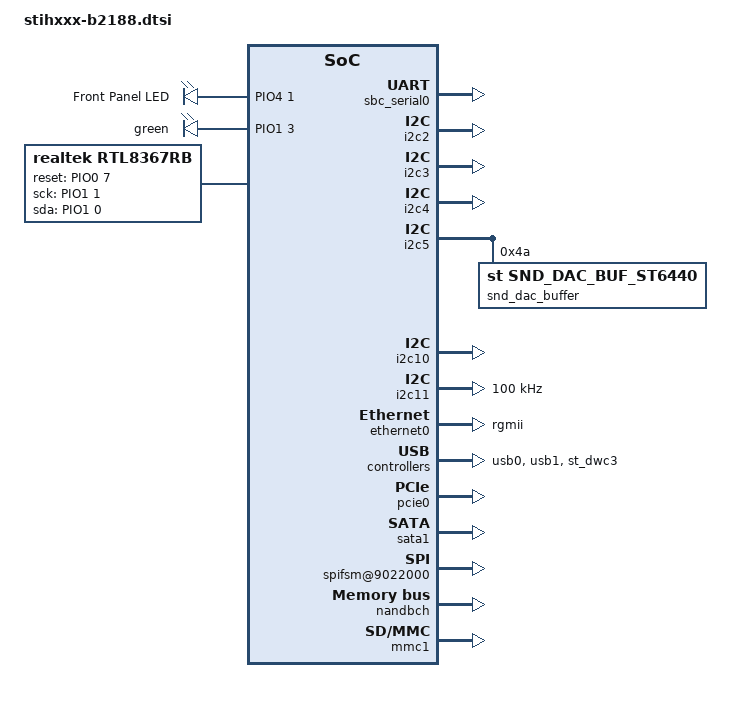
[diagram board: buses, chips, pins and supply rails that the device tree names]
/*
 * Copyright (C) 2014 STMicroelectronics (R&D) Limited.
 * Author: Maxime Coquelin <maxime.coquelin@st.com>
 *
 * This program is free software; you can redistribute it and/or modify
 * it under the terms of the GNU General Public License version 2 as
 * published by the Free Software Foundation.
 */
/ {
	chosen {
		bootargs = "console=ttyAS0,115200";
		linux,stdout-path = &sbc_serial0;
	};

	aliases {
		ttyAS0 = &sbc_serial0;
		ethernet0 = &ethernet0;
		usb0 = &usb0;
		usb1 = &usb1;
	};

	soc {
		sbc_serial0: serial@9530000 {
			status = "okay";
		};

		leds {
			compatible = "gpio-leds";
			red {
				#gpio-cells = <2>;
				label = "Front Panel LED";
				gpios = <&PIO4 1 0>;
				linux,default-trigger = "heartbeat";
			};
			green {
				#gpio-cells = <2>;
				gpios = <&PIO1 3 0>;
				default-state = "off";
			};
		};

		rc: rc@09518000 {
			status = "okay";
		};

		/* NIM-A */
		i2c2: i2c@9842000 {
			status = "okay";
		};

		/* NIM-B */
		i2c3: i2c@9843000 {
			status = "okay";
		};

		/* SSC4 to PCIe connector */
		i2c4: i2c@9844000 {
			status = "okay";
		};

		/* SSC5 to STV6440,  PCIe connector, I2C Eeprom */
		i2c5: i2c@9845000 {
			status = "okay";
		};

		/* SSC10 to STV0368 */
		i2c10: i2c@9540000 {
			status = "okay";
		};

		/* SSC11 to HDMI */
		i2c11: i2c@9541000 {
			status = "okay";
			/* HDMI V1.3a supports Standard mode only */
			clock-frequency = <100000>;
			st,i2c-min-scl-pulse-width-us = <0>;
			st,i2c-min-sda-pulse-width-us = <5>;
		};

		lpm:stm-lpm@9400000 {
			status = "okay";
			gpios = <&PIO3 2 0>;
			st,lmi-ret-gpio = <&PIO5 2 0>;
		};

		ethernet0: dwmac@9630000 {
			st,tx-retime-src = "clkgen";
			status = "okay";
			phy-mode = "rgmii";
			fixed-link = <1 1000 0 0>;
			snps,phy-addr = <0x1>;
			pinctrl-names = "default";
			pinctrl-0 = <&pinctrl_rgmii1 &pinctrl_rgmii1_b2188_rxclk>;
		};

		realtek: rtl8367rb {
			compatible = "realtek,rtl8367rb";
			status = "okay";

			gpio-reset = <&PIO0 7 0>;
			gpio-sck = <&PIO1 1 0>;
			gpio-sda = <&PIO1 0 0>;

			rtl8367rb,extif1;
			rtl8367rb,extif1-mode = <1>; // RGMII
			rtl8367rb,extif1-txdelay = <0>;
			rtl8367rb,extif1-rxdelay = <1>;
			rtl8367rb,extif1-force_mode = <1>;
			rtl8367rb,extif1-txpause = <2>;
			rtl8367rb,extif1-rxpause = <2>;
			rtl8367rb,extif1-link = <1>;
			rtl8367rb,extif1-duplex = <1>;
			rtl8367rb,extif1-speed = <1>; // 100M speed

			rtl8367rb,extif2;
			rtl8367rb,extif2-mode = <1>; // RGMII
			rtl8367rb,extif2-txdelay = <0>;
			rtl8367rb,extif2-rxdelay = <1>;
			rtl8367rb,extif2-force_mode = <1>;
			rtl8367rb,extif2-txpause = <1>;
			rtl8367rb,extif2-rxpause = <1>;
			rtl8367rb,extif2-link = <1>;
			rtl8367rb,extif2-duplex = <1>;
			rtl8367rb,extif2-speed = <2>; // 1000M speed
		};

		usb0: usb@9A00000 {
			status = "okay";
		};

		usb1: usb@9A80000 {
			status = "okay";
		};

		st_dwc3: dwc3@8f94000 {
			status = "okay";
		};

		miphy28lp_phy0: miphy28lp@0 {
                        status = "okay";
                };

		miphy28lp_phy1: miphy28lp@1 {
			st,sata_gen = "gen3";
			st,osc-force-ext;
			status = "okay";
		};

		pcie0: pcie@9b00000 {
			status = "okay";
		};

		sata1: sata@9b28000 {
			status = "okay";
		};

		spifsm@9022000 {
			status = "okay";
			flash-name = "n25q256";
			partitions = <&b2188_fsm_partitions>;

			b2188_fsm_partitions: partitions-b2188 {
				#address-cells = <1>;
				#size-cells = <1>;
				partition@0 {
					label = "boot";
					/* 20M */
					reg = <0x00000000 0x01400000>;
				};
				partition@1400000 {
					label = "rest";
					/* 12M */
					reg = <0x01400000 0x00c00000>;
				};
			};
		};

		/* audio dac buffer */
		i2c@9845000 {
			status = "okay";
			#address-cells = <1>;
			#size-cells = <0>;

			snd_dac_buffer@4a {
				compatible = "st,snd_dac_buf_st6440";
				reg = <0x4a>;
				st,source-bus-id = <&snd_uni_player2>;
				st,buffer-gain = <2>;
			};
		};

		snd_uni_player1: snd-uni-player@1 {
			channels = <2>;
			pinctrl-names = "default";
			pinctrl-0 = <&pinctrl_i2s_2ch_out>;
		};

		snd_uni_reader0: snd-uni-reader@0 {
			channels = <2>;
			pinctrl-names = "default";
			pinctrl-0 = <&pinctrl_i2s_2ch_in>;
		};

		nandbch: nand-bch {
			st,bch-ecc-mode = "30bit";
			st,bch-bitflip-threshold = <0x1c>;
			status = "okay";
			st,nand-banks = <&nand_banks>;
		};

		nand_banks: nand-banks {
			bank0 {
				/* NAND_BBT_USE_FLASH (4Gbit) */
				nand-on-flash-bbt;
				nand-no-autoincr;
				st,nand-cs = <0>;
				st,nand-timing-data = <&nand_timing0>;
				partitions {
					#address-cells = <1>;
					#size-cells = <1>;
					partition@0{
						label = "NAND Flash 1";
						reg = <0x00000000 0x1e000000>;
					};
				};
			};
		};

		nand_timing0: nand-timing {
			sig-setup = <10>;
			sig-hold = <10>;
			CE-deassert = <0>;
			WE-to-RBn = <100>;
			wr-on = <10>;
			wr-off = <30>;
			rd-on = <10>;
			rd-off = <30>;
			chip-delay = <30>; /* delay in us */
		};

		mmc1: sdhci@09080000 {
			status = "okay";
		};

		vmmc_reg: voltage-regulator {
			status = "okay";
		};
	};
};
